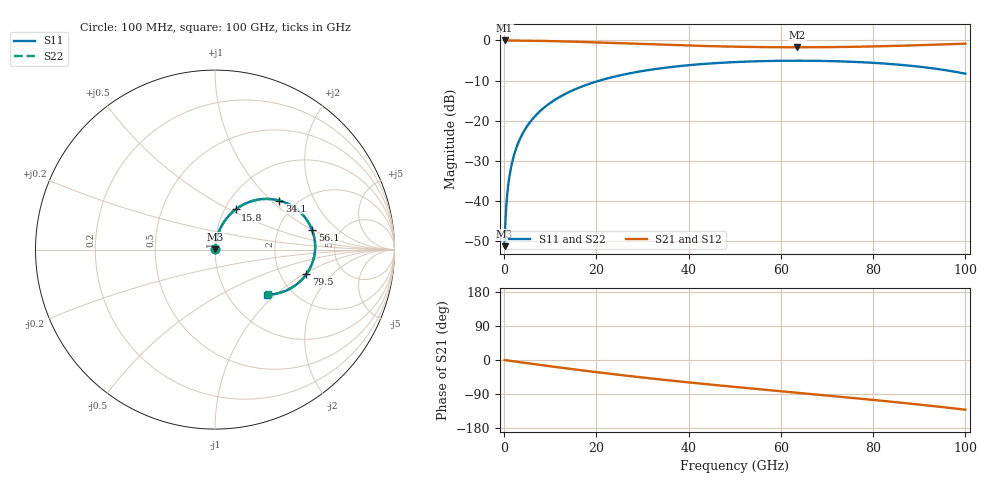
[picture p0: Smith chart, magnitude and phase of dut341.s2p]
! Touchstone file exported from HFSS 2026.1.0
!  File:  C:/ffzhzh/LocalFiles/Ansys_Project_Files/temp_train_RDL_341_1783503048_55944.aedt
!  Generated:  05:31:58 PM Jul  8, 2026
!  Design:  RDL
!  Project:  temp_train_RDL_341_1783503048_55944
! Variables:
!  h_bsmrdl = 2um
!  h_ox = 20um
!  h_rdl = 5um
!  h_sub = 80um
!  h_tmrdl = 3.37um
!  h_tsv = 80um
!  h_via = 3um
!  l_bsmrdl = 300um
!  l_sub = 833.36um
!  l_tmrdl = 433.36um
!  m_sub = 200um
!  pitch = 57.26um
!  r_tsv = 6um
!  s_tmrdl = 10um
!  w_bsmrdl = 18um
!  w_sub = 500um
!  w_tmrdl = 26.37um
!  x_tsv_center1 = 446.545um
!  x_tsv_center2 = 764.545um
!  x_tsv_center3 = 1224.275um
!  x_tsv_center4 = 1542.275um
!  x_tsv_center5 = 2002.005um
!  x_tsv_center6 = 2320.005um
# GHz S MA R 50.000000
! Terminal data exported
! Port[1] = TM_RDL1_1_T1
! Port[2] = TM_RDL1_1_T2
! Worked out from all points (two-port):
!   1000 points, 100 MHz to 100 GHz, reference 50 ohm
!   highest |S21| = -0.02 dB at 100 MHz (marker M1); lowest = -1.7 dB at 63.6 GHz (marker M2)
!   |S21| within 3 dB of the highest: start of sweep to end of sweep
!   lowest |S11| = -51.2 dB at 100 MHz (marker M3), VSWR 1.01, Z = 50.2 + j0.192 ohm
!   |S11| at or under -10 dB: start of sweep to 20.71 GHz
!   |S22| runs from -51.2 to -5.1 dB; largest |S21 - S12| = 1.6e-14
!   S11 on the Smith chart (normalised r, x): 100 MHz: 1.00, +0.00; 15.8 GHz: 1.13, +0.54; 34.1 GHz: 1.64, +1.12; 56.1 GHz: 3.13, +0.97; 79.5 GHz: 2.78, -1.06; 100 GHz: 1.51, -0.89
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0.1  0.002741 44.1  0.998 -0.2  0.998 -0.2  0.002741 44.1
! Gamma 0 0 0 0
! Port Impedance 50 0 50 0
0.8  0.01436 78.7  0.9974 -1.4  0.9974 -1.4  0.01436 78.7
1.1  0.01947 80.6  0.9972 -1.9  0.9972 -1.9  0.01947 80.6
1.4  0.02461 81.5  0.9971 -2.4  0.9971 -2.4  0.02461 81.5
2.4  0.04179 82.0  0.9963 -4.1  0.9963 -4.1  0.04179 82.0
3.8  0.06567 80.7  0.9945 -6.4  0.9945 -6.4  0.06567 80.7
5.8  0.09917 77.9  0.991 -9.7  0.991 -9.7  0.09917 77.9
8.4  0.1414 74.0  0.9849 -14.0  0.9849 -14.0  0.1414 74.0
11.7  0.1926 68.9  0.9752 -19.3  0.9752 -19.3  0.1926 68.9
15.8  0.2519 62.7  0.9607 -25.7  0.9607 -25.7  0.2519 62.7
16.8  0.2657 61.2  0.9568 -27.2  0.9568 -27.2  0.2657 61.2
24.2  0.357 50.6  0.9259 -38.1  0.9259 -38.1  0.3571 50.6
33.4  0.4449 38.2  0.8869 -50.7  0.8869 -50.7  0.4449 38.2
34.1  0.4504 37.3  0.8842 -51.6  0.8842 -51.6  0.4505 37.3
50.1  0.5372 18.0  0.8348 -71.2  0.8348 -71.2  0.5372 18.1
56.1  0.552 11.3  0.8252 -78.0  0.8252 -78.0  0.5521 11.3
63.6  0.5585 2.9  0.8208 -86.5  0.8208 -86.5  0.5586 3.0
66.7  0.5573 -0.5  0.8216 -90.0  0.8216 -90.0  0.5574 -0.4
79.5  0.5276 -15.0  0.8399 -104.7  0.8399 -104.7  0.5277 -14.9
83.4  0.5102 -19.6  0.8501 -109.4  0.8501 -109.4  0.5103 -19.5
92.2  0.4545 -30.5  0.8795 -120.5  0.8795 -120.5  0.4546 -30.3
100  0.3848 -40.8  0.9103 -131.1  0.9103 -131.1  0.385 -40.5
